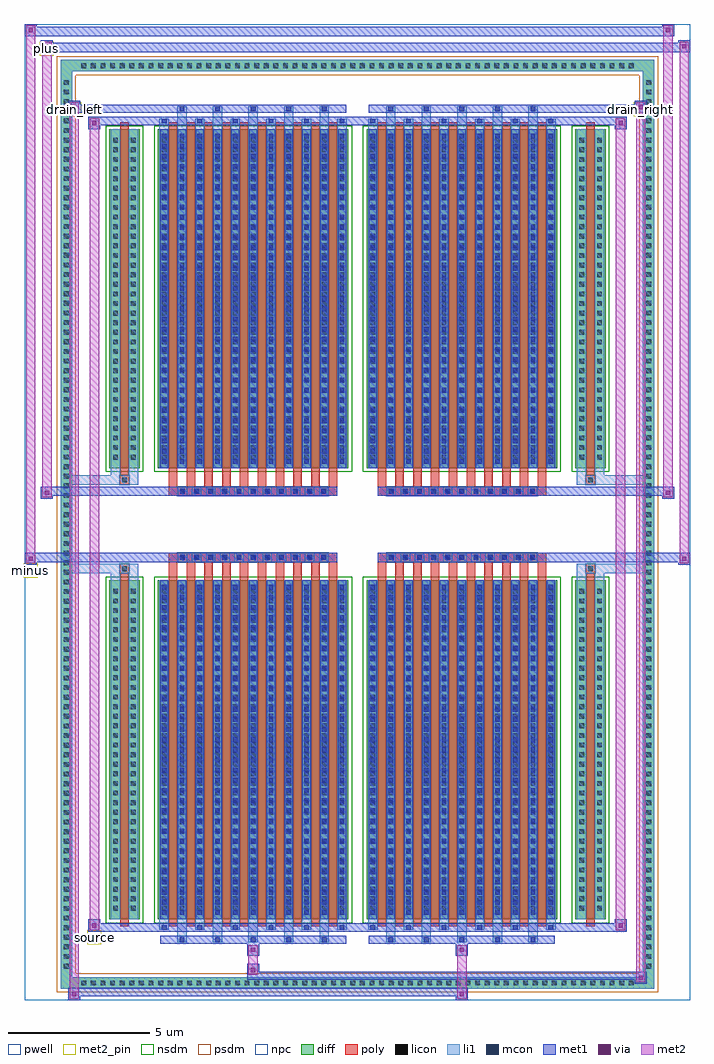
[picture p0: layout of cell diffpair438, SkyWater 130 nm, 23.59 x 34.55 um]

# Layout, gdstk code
import gdstk
lib = gdstk.Library(unit=1e-6, precision=5e-09)
def R(c, l, rs):  # rectangles x0, y0, x1, y1
    for r in rs: c.add(gdstk.rectangle(r[:2], r[2:], *l))
def A(c, l, x, y, w, h, nx, ny, dx, dy):  # array of equal rectangles
    R(c, l, [(x+i*dx, y+j*dy, x+i*dx+w, y+j*dy+h) for i in range(nx) for j in range(ny)])
def P(c, l, *ps):  # polygons
    for p in ps: c.add(gdstk.Polygon(p, *l))
pwell = (64, 44)
diff = (65, 20)
poly = (66, 20)
licon = (66, 44)
li1 = (67, 20)
mcon = (67, 44)
met1 = (68, 20)
via = (68, 44)
met2_pin = (69, 16)
met2 = (69, 20)
nsdm = (93, 44)
psdm = (94, 20)
npc = (95, 20)

diffpair438 = lib.new_cell('diffpair438')
R(diffpair438, pwell, [(-11.78,-16.84,11.78,17.71), (-9.1,-15.03,-0.01,-0.805), (0.01,-15.03,9.1,-0.805), (-9.1,0.805,-0.01,15.03), (0.01,0.805,9.1,15.03)])
A(diffpair438, diff, -9.895, -16.44, 0.41, 0.41, 58, 2, 0.34, 32.47)
A(diffpair438, diff, -10.51, -15.845, 0.41, 0.41, 1, 93, 0, 0.34)
A(diffpair438, diff, 10.1, -15.845, 0.41, 0.41, 1, 93, 0, 0.34)
R(diffpair438, diff, [(-9.895,-16.44,9.895,-16.03), (-10.51,-15.845,-10.1,15.845), (10.1,-15.845,10.51,15.845), (-8.79,-13.985,-7.71,-1.985), (-7.07,-13.985,-0.32,-1.985), (0.32,-13.985,7.07,-1.985), (7.71,-13.985,8.79,-1.985), (-8.79,1.985,-7.71,13.985), (-7.07,1.985,-0.32,13.985), (0.32,1.985,7.07,13.985), (7.71,1.985,8.79,13.985), (-9.895,16.03,9.895,16.44)])
P(diffpair438, diff, [(10.51,16.44),(-10.51,16.44),(-10.51,-16.03),(-10.1,-16.03),(-10.1,16.03),(10.1,16.03),(10.1,-16.03),(-10.1,-16.03),(-10.51,-16.03),(-10.51,-16.44),(10.51,-16.44)])
A(diffpair438, poly, -6.68, -14.235, 0.3, 12.5, 10, 2, 0.63, 15.97)
A(diffpair438, poly, 0.71, -14.235, 0.3, 12.5, 10, 2, 0.63, 15.97)
A(diffpair438, poly, -6.68, -1.735, 0.3, 0.4, 10, 2, 0.63, 3.07)
A(diffpair438, poly, 0.71, -1.735, 0.3, 0.4, 10, 2, 0.63, 3.07)
A(diffpair438, poly, -6.36, -1.335, 0.33, 0.33, 11, 2, 0.5, 2.34)
A(diffpair438, poly, 1.03, -1.335, 0.33, 0.33, 11, 2, 0.5, 2.34)
R(diffpair438, poly, [(-8.4,-14.235,-8.1,-1.735), (8.1,-14.235,8.4,-1.735), (-8.415,-1.735,-8.085,-1.405), (-8.415,-1.735,-8.085,-1.405), (8.085,-1.735,8.415,-1.405), (8.085,-1.735,8.415,-1.405), (-6.68,-1.335,-0.71,-1.005), (0.71,-1.335,6.68,-1.005), (-6.68,1.005,-0.71,1.335), (0.71,1.005,6.68,1.335), (-8.415,1.405,-8.085,1.735), (-8.415,1.405,-8.085,1.735), (8.085,1.405,8.415,1.735), (8.085,1.405,8.415,1.735), (-8.4,1.735,-8.1,14.235), (8.1,1.735,8.4,14.235)])
A(diffpair438, licon, -9.775, -16.32, 0.17, 0.17, 58, 2, 0.34, 32.47)
A(diffpair438, licon, -10.39, -15.725, 0.17, 0.17, 1, 93, 0, 0.34)
A(diffpair438, licon, 10.22, -15.725, 0.17, 0.17, 1, 93, 0, 0.34)
A(diffpair438, licon, -8.65, -13.68, 0.17, 0.17, 1, 34, 0, 0.34)
A(diffpair438, licon, -8.02, -13.68, 0.17, 0.17, 1, 34, 0, 0.34)
A(diffpair438, licon, -6.93, -13.68, 0.17, 0.17, 11, 34, 0.63, 0.34)
A(diffpair438, licon, 0.46, -13.68, 0.17, 0.17, 11, 34, 0.63, 0.34)
A(diffpair438, licon, 7.85, -13.68, 0.17, 0.17, 1, 34, 0, 0.34)
A(diffpair438, licon, 8.48, -13.68, 0.17, 0.17, 1, 34, 0, 0.34)
A(diffpair438, licon, -6.28, -1.255, 0.17, 0.17, 11, 2, 0.5, 2.34)
A(diffpair438, licon, 1.11, -1.255, 0.17, 0.17, 11, 2, 0.5, 2.34)
A(diffpair438, licon, -8.65, 2.29, 0.17, 0.17, 1, 34, 0, 0.34)
A(diffpair438, licon, -8.02, 2.29, 0.17, 0.17, 1, 34, 0, 0.34)
A(diffpair438, licon, -6.93, 2.29, 0.17, 0.17, 11, 34, 0.63, 0.34)
A(diffpair438, licon, 0.46, 2.29, 0.17, 0.17, 11, 34, 0.63, 0.34)
A(diffpair438, licon, 7.85, 2.29, 0.17, 0.17, 1, 34, 0, 0.34)
A(diffpair438, licon, 8.48, 2.29, 0.17, 0.17, 1, 34, 0, 0.34)
R(diffpair438, licon, [(-8.335,-1.655,-8.165,-1.485), (8.165,-1.655,8.335,-1.485), (-8.335,1.485,-8.165,1.655), (8.165,1.485,8.335,1.655)])
A(diffpair438, li1, -9.855, -16.4, 0.33, 0.33, 58, 2, 0.34, 32.47)
A(diffpair438, li1, -10.47, -15.805, 0.33, 0.33, 1, 93, 0, 0.34)
A(diffpair438, li1, 10.14, -15.805, 0.33, 0.33, 1, 93, 0, 0.34)
A(diffpair438, li1, -6.38, -14.79, 0.33, 0.805, 5, 2, 1.26, 28.775)
A(diffpair438, li1, -6.3, -14.79, 0.17, 0.17, 5, 2, 1.26, 29.41)
A(diffpair438, li1, 1.01, -14.79, 0.33, 0.805, 5, 2, 1.26, 28.775)
A(diffpair438, li1, 1.09, -14.79, 0.17, 0.17, 5, 2, 1.26, 29.41)
A(diffpair438, li1, -7.01, -14.36, 0.33, 0.375, 6, 2, 1.26, 28.345)
A(diffpair438, li1, -6.93, -14.36, 0.17, 0.17, 6, 2, 1.26, 28.55)
A(diffpair438, li1, 0.38, -14.36, 0.33, 0.375, 6, 2, 1.26, 28.345)
A(diffpair438, li1, 0.46, -14.36, 0.17, 0.17, 6, 2, 1.26, 28.55)
A(diffpair438, li1, -7.01, -13.985, 0.33, 12, 11, 2, 0.63, 15.97)
A(diffpair438, li1, 0.38, -13.985, 0.33, 12, 11, 2, 0.63, 15.97)
A(diffpair438, li1, -6.93, -13.83, 0.17, 0.17, 11, 33, 0.63, 0.36)
A(diffpair438, li1, -6.93, -13.83, 0.17, 11.69, 11, 2, 0.63, 15.97)
A(diffpair438, li1, 0.46, -13.83, 0.17, 0.17, 11, 33, 0.63, 0.36)
A(diffpair438, li1, 0.46, -13.83, 0.17, 11.69, 11, 2, 0.63, 15.97)
A(diffpair438, li1, -8.73, -13.76, 0.33, 0.33, 1, 34, 0, 0.34)
A(diffpair438, li1, -8.1, -13.76, 0.33, 0.33, 1, 34, 0, 0.34)
A(diffpair438, li1, -7.01, -13.76, 0.33, 0.33, 11, 34, 0.63, 0.34)
A(diffpair438, li1, 0.38, -13.76, 0.33, 0.33, 11, 34, 0.63, 0.34)
A(diffpair438, li1, 7.77, -13.76, 0.33, 0.33, 1, 34, 0, 0.34)
A(diffpair438, li1, 8.4, -13.76, 0.33, 0.33, 1, 34, 0, 0.34)
A(diffpair438, li1, -6.36, -1.335, 0.33, 0.33, 11, 2, 0.5, 2.34)
A(diffpair438, li1, 1.03, -1.335, 0.33, 0.33, 11, 2, 0.5, 2.34)
A(diffpair438, li1, -6.93, 2.14, 0.17, 0.17, 11, 33, 0.63, 0.36)
A(diffpair438, li1, 0.46, 2.14, 0.17, 0.17, 11, 33, 0.63, 0.36)
A(diffpair438, li1, -8.73, 2.21, 0.33, 0.33, 1, 34, 0, 0.34)
A(diffpair438, li1, -8.1, 2.21, 0.33, 0.33, 1, 34, 0, 0.34)
A(diffpair438, li1, -7.01, 2.21, 0.33, 0.33, 11, 34, 0.63, 0.34)
A(diffpair438, li1, 0.38, 2.21, 0.33, 0.33, 11, 34, 0.63, 0.34)
A(diffpair438, li1, 7.77, 2.21, 0.33, 0.33, 1, 34, 0, 0.34)
A(diffpair438, li1, 8.4, 2.21, 0.33, 0.33, 1, 34, 0, 0.34)
R(diffpair438, li1, [(-10.51,-16.44,-10.1,-16.03), (-10.51,-16.44,-10.1,-16.03), (-10.1,-16.44,10.1,-16.03), (10.1,-16.44,10.51,-16.03), (10.1,-16.44,10.51,-16.03), (-10.51,-16.03,-10.1,16.03), (10.1,-16.03,10.51,16.03), (-8.73,-13.985,-8.4,-1.985), (-8.1,-13.985,-7.77,-1.985), (7.77,-13.985,8.1,-1.985), (8.4,-13.985,8.73,-1.985), (-8.73,-1.985,-8.4,-1.405), (-8.1,-1.985,-7.77,-1.405), (7.77,-1.985,8.1,-1.405), (8.4,-1.985,8.73,-1.405), (-10.51,-1.735,-8.415,-1.405), (-8.73,-1.735,-8.415,-1.405), (-8.415,-1.735,-8.085,-1.405), (-8.085,-1.735,-7.77,-1.405), (7.77,-1.735,8.085,-1.405), (8.085,-1.735,8.415,-1.405), (8.085,-1.735,10.51,-1.405), (8.415,-1.735,8.73,-1.405), (-10.51,1.405,-8.415,1.735), (-8.73,1.405,-8.415,1.735), (-8.73,1.405,-8.4,1.985), (-8.415,1.405,-8.085,1.735), (-8.1,1.405,-7.77,1.985), (-8.085,1.405,-7.77,1.735), (7.77,1.405,8.085,1.735), (7.77,1.405,8.1,1.985), (8.085,1.405,8.415,1.735), (8.085,1.405,10.51,1.735), (8.4,1.405,8.73,1.985), (8.415,1.405,8.73,1.735), (-8.73,1.985,-8.4,13.985), (-8.1,1.985,-7.77,13.985), (7.77,1.985,8.1,13.985), (8.4,1.985,8.73,13.985), (-10.51,16.03,-10.1,16.44), (-10.51,16.03,-10.1,16.44), (-10.1,16.03,10.1,16.44), (10.1,16.03,10.51,16.44), (10.1,16.03,10.51,16.44)])
A(diffpair438, mcon, -6.3, -14.79, 0.17, 0.17, 5, 2, 1.26, 29.41)
A(diffpair438, mcon, 1.09, -14.79, 0.17, 0.17, 5, 2, 1.26, 29.41)
A(diffpair438, mcon, -6.93, -14.36, 0.17, 0.17, 6, 2, 1.26, 28.55)
A(diffpair438, mcon, 0.46, -14.36, 0.17, 0.17, 6, 2, 1.26, 28.55)
A(diffpair438, mcon, -6.93, -13.83, 0.17, 0.17, 11, 33, 0.63, 0.36)
A(diffpair438, mcon, 0.46, -13.83, 0.17, 0.17, 11, 33, 0.63, 0.36)
A(diffpair438, mcon, -6.28, -1.255, 0.17, 0.17, 11, 2, 0.5, 2.34)
A(diffpair438, mcon, 1.11, -1.255, 0.17, 0.17, 11, 2, 0.5, 2.34)
A(diffpair438, mcon, -6.93, 2.14, 0.17, 0.17, 11, 33, 0.63, 0.36)
A(diffpair438, mcon, 0.46, 2.14, 0.17, 0.17, 11, 33, 0.63, 0.36)
A(diffpair438, met1, -6.36, -14.85, 0.29, 0.29, 5, 2, 1.26, 29.41)
A(diffpair438, met1, 1.03, -14.85, 0.29, 0.29, 5, 2, 1.26, 29.41)
A(diffpair438, met1, -6.99, -14.42, 0.29, 0.29, 6, 2, 1.26, 28.55)
A(diffpair438, met1, 0.4, -14.42, 0.29, 0.29, 6, 2, 1.26, 28.55)
A(diffpair438, met1, -6.99, -13.985, 0.29, 12, 11, 2, 0.63, 15.97)
A(diffpair438, met1, 0.4, -13.985, 0.29, 12, 11, 2, 0.63, 15.97)
A(diffpair438, met1, -6.99, -13.89, 0.29, 0.29, 11, 33, 0.63, 0.36)
A(diffpair438, met1, 0.4, -13.89, 0.29, 0.29, 11, 33, 0.63, 0.36)
A(diffpair438, met1, -6.34, -1.315, 0.29, 0.29, 11, 2, 0.5, 2.34)
A(diffpair438, met1, 1.05, -1.315, 0.29, 0.29, 11, 2, 0.5, 2.34)
A(diffpair438, met1, -6.99, 2.08, 0.29, 0.29, 11, 33, 0.63, 0.36)
A(diffpair438, met1, 0.4, 2.08, 0.29, 0.29, 11, 33, 0.63, 0.36)
R(diffpair438, met1, [(-10.24,-16.84,-9.81,-16.41), (3.48,-16.84,3.91,-16.41), (-10.24,-16.7,3.91,-16.41), (9.81,-16.27,10.24,-15.84), (-3.91,-16.13,10.24,-15.84), (-3.91,-15.99,-3.48,-15.56), (-3.91,-15.28,-3.48,-14.85), (3.48,-15.28,3.91,-14.85), (-6.99,-14.85,-0.4,-14.56), (0.4,-14.85,6.99,-14.56), (-9.53,-14.42,-9.1,-13.99), (-9.53,-14.42,-6.99,-14.13), (-6.99,-14.42,-0.4,-14.13), (-0.4,-14.42,0.4,-14.13), (0.4,-14.42,6.99,-14.13), (6.99,-14.42,9.53,-14.13), (9.1,-14.42,9.53,-13.99), (-11.78,-1.435,-11.35,-1.005), (11.35,-1.435,11.78,-1.005), (-11.78,-1.335,-0.71,-1.005), (-6.68,-1.335,-0.71,-1.005), (0.71,-1.335,6.68,-1.005), (0.71,-1.335,11.78,-1.005), (-11.21,0.905,-10.78,1.335), (10.78,0.905,11.21,1.335), (-11.21,1.005,-6.68,1.335), (-6.68,1.005,-0.71,1.335), (0.71,1.005,6.68,1.335), (6.68,1.005,11.21,1.335), (-9.53,13.99,-9.1,14.42), (9.1,13.99,9.53,14.42), (-9.53,14.13,-6.99,14.42), (-6.99,14.13,-0.4,14.42), (-0.4,14.13,0.4,14.42), (0.4,14.13,6.99,14.42), (6.99,14.13,9.53,14.42), (-10.24,14.56,-9.81,14.99), (-10.24,14.56,-6.99,14.85), (-6.99,14.56,-0.4,14.85), (0.4,14.56,6.99,14.85), (6.99,14.56,10.24,14.85), (9.81,14.56,10.24,14.99), (-11.21,16.71,-10.78,17.14), (-11.21,16.71,-9.1,17.04), (-9.1,16.71,9.1,17.04), (9.1,16.71,11.78,17.04), (11.35,16.71,11.78,17.14), (-11.78,17.28,-11.35,17.71), (-11.78,17.28,-9.1,17.61), (-9.1,17.28,9.1,17.61), (9.1,17.28,11.21,17.61), (10.78,17.28,11.21,17.71)])
R(diffpair438, via, [(-10.1,-16.7,-9.95,-16.55), (3.62,-16.7,3.77,-16.55), (9.95,-16.13,10.1,-15.98), (-3.77,-15.85,-3.62,-15.7), (-3.77,-15.14,-3.62,-14.99), (3.62,-15.14,3.77,-14.99), (-9.39,-14.28,-9.24,-14.13), (9.24,-14.28,9.39,-14.13), (-11.64,-1.295,-11.49,-1.145), (11.49,-1.295,11.64,-1.145), (-11.07,1.045,-10.92,1.195), (10.92,1.045,11.07,1.195), (-9.39,14.13,-9.24,14.28), (9.24,14.13,9.39,14.28), (-10.1,14.7,-9.95,14.85), (9.95,14.7,10.1,14.85), (-11.07,16.85,-10.92,17), (11.49,16.85,11.64,17), (-11.64,17.42,-11.49,17.57), (10.92,17.42,11.07,17.57)])
R(diffpair438, met2_pin, [(-9.565,-14.87,-9.065,-14.37), (-11.815,-1.885,-11.315,-1.385), (-10.275,14.44,-9.775,14.94), (9.775,14.44,10.275,14.94), (-11.245,16.59,-10.745,17.09)])
R(diffpair438, met2, [(-10.19,-16.79,-9.86,-16.46), (-10.19,-16.79,-9.86,14.94), (3.53,-16.79,3.86,-16.46), (3.53,-16.46,3.86,-15.23), (9.86,-16.22,10.19,-15.89), (9.86,-16.22,10.19,14.94), (-3.86,-15.94,-3.53,-15.61), (-3.86,-15.61,-3.53,-15.23), (-3.86,-15.23,-3.53,-14.9), (3.53,-15.23,3.86,-14.9), (-9.48,-14.37,-9.15,-14.04), (-9.48,-14.37,-9.15,14.37), (9.15,-14.37,9.48,-14.04), (9.15,-14.37,9.48,14.37), (-11.73,-1.385,-11.4,-1.055), (-11.73,-1.385,-11.4,17.66), (11.4,-1.385,11.73,-1.055), (11.4,-1.385,11.73,17.09), (-11.16,0.955,-10.83,1.285), (-11.16,0.955,-10.83,17.09), (10.83,0.955,11.16,1.285), (10.83,0.955,11.16,17.66), (-9.48,14.04,-9.15,14.37), (9.15,14.04,9.48,14.37), (-10.19,14.61,-9.86,14.94), (9.86,14.61,10.19,14.94), (-11.16,16.76,-10.83,17.09), (11.4,16.76,11.73,17.09), (-11.73,17.33,-11.4,17.66), (10.83,17.33,11.16,17.66)])
P(diffpair438, met2, [(11.73,-1.385),(11.73,-1.385),(11.73,-1.055),(11.73,-1.055)],
  [(11.73,16.76),(11.73,16.76),(11.73,17.09),(11.73,17.09)],
  [(-11.4,-1.385),(-11.4,-1.385),(-11.4,-1.055),(-11.4,-1.055)],
  [(-11.4,17.33),(-11.4,17.33),(-11.4,17.66),(-11.4,17.66)],
  [(11.16,0.955),(11.16,0.955),(11.16,1.285),(11.16,1.285)],
  [(11.16,17.33),(11.16,17.33),(11.16,17.66),(11.16,17.66)],
  [(-10.83,0.955),(-10.83,0.955),(-10.83,1.285),(-10.83,1.285)],
  [(-10.83,16.76),(-10.83,16.76),(-10.83,17.09),(-10.83,17.09)],
  [(-9.86,-16.79),(-9.86,-16.79),(-9.86,-16.46),(-9.86,-16.46)],
  [(-9.86,14.61),(-9.86,14.61),(-9.86,14.94),(-9.86,14.94)],
  [(10.19,-16.22),(10.19,-16.22),(10.19,-15.89),(10.19,-15.89)],
  [(10.19,14.61),(10.19,14.61),(10.19,14.94),(10.19,14.94)],
  [(-9.15,-14.37),(-9.15,-14.37),(-9.15,-14.04),(-9.15,-14.04)],
  [(-9.15,14.04),(-9.15,14.04),(-9.15,14.37),(-9.15,14.37)],
  [(9.48,-14.37),(9.48,-14.37),(9.48,-14.04),(9.48,-14.04)],
  [(9.48,14.04),(9.48,14.04),(9.48,14.37),(9.48,14.37)])
R(diffpair438, nsdm, [(-8.92,-14.115,-7.58,-1.855), (-7.2,-14.115,-0.19,-1.855), (0.19,-14.115,7.2,-1.855), (7.58,-14.115,8.92,-1.855), (-8.92,1.855,-7.58,14.115), (-7.2,1.855,-0.19,14.115), (0.19,1.855,7.2,14.115), (7.58,1.855,8.92,14.115)])
P(diffpair438, psdm, [(10.64,16.57),(-10.64,16.57),(-10.64,-15.9),(-9.97,-15.9),(-9.97,15.9),(9.97,15.9),(9.97,-15.9),(-9.97,-15.9),(-10.64,-15.9),(-10.64,-16.57),(10.64,-16.57)])
A(diffpair438, npc, -6.38, -1.355, 0.37, 0.37, 11, 2, 0.5, 2.34)
A(diffpair438, npc, 1.01, -1.355, 0.37, 0.37, 11, 2, 0.5, 2.34)
R(diffpair438, npc, [(-8.435,-1.755,-8.065,-1.385), (8.065,-1.755,8.435,-1.385), (-6.38,-1.355,-5.51,-0.985), (-6.38,-1.355,-5.51,-0.985), (-5.88,-1.355,-5.01,-0.985), (-5.88,-1.355,-5.01,-0.985), (-5.38,-1.355,-4.51,-0.985), (-5.38,-1.355,-4.51,-0.985), (-4.88,-1.355,-4.01,-0.985), (-4.88,-1.355,-4.01,-0.985), (-4.38,-1.355,-3.51,-0.985), (-4.38,-1.355,-3.51,-0.985), (-3.88,-1.355,-3.01,-0.985), (-3.88,-1.355,-3.01,-0.985), (-3.38,-1.355,-2.51,-0.985), (-3.38,-1.355,-2.51,-0.985), (-2.88,-1.355,-2.01,-0.985), (-2.88,-1.355,-2.01,-0.985), (-2.38,-1.355,-1.51,-0.985), (-2.38,-1.355,-1.51,-0.985), (-1.88,-1.355,-1.01,-0.985), (-1.88,-1.355,-1.01,-0.985), (1.01,-1.355,1.88,-0.985), (1.01,-1.355,1.88,-0.985), (1.51,-1.355,2.38,-0.985), (1.51,-1.355,2.38,-0.985), (2.01,-1.355,2.88,-0.985), (2.01,-1.355,2.88,-0.985), (2.51,-1.355,3.38,-0.985), (2.51,-1.355,3.38,-0.985), (3.01,-1.355,3.88,-0.985), (3.01,-1.355,3.88,-0.985), (3.51,-1.355,4.38,-0.985), (3.51,-1.355,4.38,-0.985), (4.01,-1.355,4.88,-0.985), (4.01,-1.355,4.88,-0.985), (4.51,-1.355,5.38,-0.985), (4.51,-1.355,5.38,-0.985), (5.01,-1.355,5.88,-0.985), (5.01,-1.355,5.88,-0.985), (5.51,-1.355,6.38,-0.985), (5.51,-1.355,6.38,-0.985), (-6.38,0.985,-5.51,1.355), (-6.38,0.985,-5.51,1.355), (-5.88,0.985,-5.01,1.355), (-5.88,0.985,-5.01,1.355), (-5.38,0.985,-4.51,1.355), (-5.38,0.985,-4.51,1.355), (-4.88,0.985,-4.01,1.355), (-4.88,0.985,-4.01,1.355), (-4.38,0.985,-3.51,1.355), (-4.38,0.985,-3.51,1.355), (-3.88,0.985,-3.01,1.355), (-3.88,0.985,-3.01,1.355), (-3.38,0.985,-2.51,1.355), (-3.38,0.985,-2.51,1.355), (-2.88,0.985,-2.01,1.355), (-2.88,0.985,-2.01,1.355), (-2.38,0.985,-1.51,1.355), (-2.38,0.985,-1.51,1.355), (-1.88,0.985,-1.01,1.355), (-1.88,0.985,-1.01,1.355), (1.01,0.985,1.88,1.355), (1.01,0.985,1.88,1.355), (1.51,0.985,2.38,1.355), (1.51,0.985,2.38,1.355), (2.01,0.985,2.88,1.355), (2.01,0.985,2.88,1.355), (2.51,0.985,3.38,1.355), (2.51,0.985,3.38,1.355), (3.01,0.985,3.88,1.355), (3.01,0.985,3.88,1.355), (3.51,0.985,4.38,1.355), (3.51,0.985,4.38,1.355), (4.01,0.985,4.88,1.355), (4.01,0.985,4.88,1.355), (4.51,0.985,5.38,1.355), (4.51,0.985,5.38,1.355), (5.01,0.985,5.88,1.355), (5.01,0.985,5.88,1.355), (5.51,0.985,6.38,1.355), (5.51,0.985,6.38,1.355), (-8.435,1.385,-8.065,1.755), (8.065,1.385,8.435,1.755)])
diffpair438.add(gdstk.Label('minus', (-11.565,-1.635), layer=69, texttype=5))
diffpair438.add(gdstk.Label('drain_right', (10.025,14.69), layer=69, texttype=5))
diffpair438.add(gdstk.Label('drain_left', (-10.025,14.69), layer=69, texttype=5))
diffpair438.add(gdstk.Label('source', (-9.315,-14.62), layer=69, texttype=5))
diffpair438.add(gdstk.Label('plus', (-10.995,16.84), layer=69, texttype=5))

lib.write_gds('diffpair438.gds')
